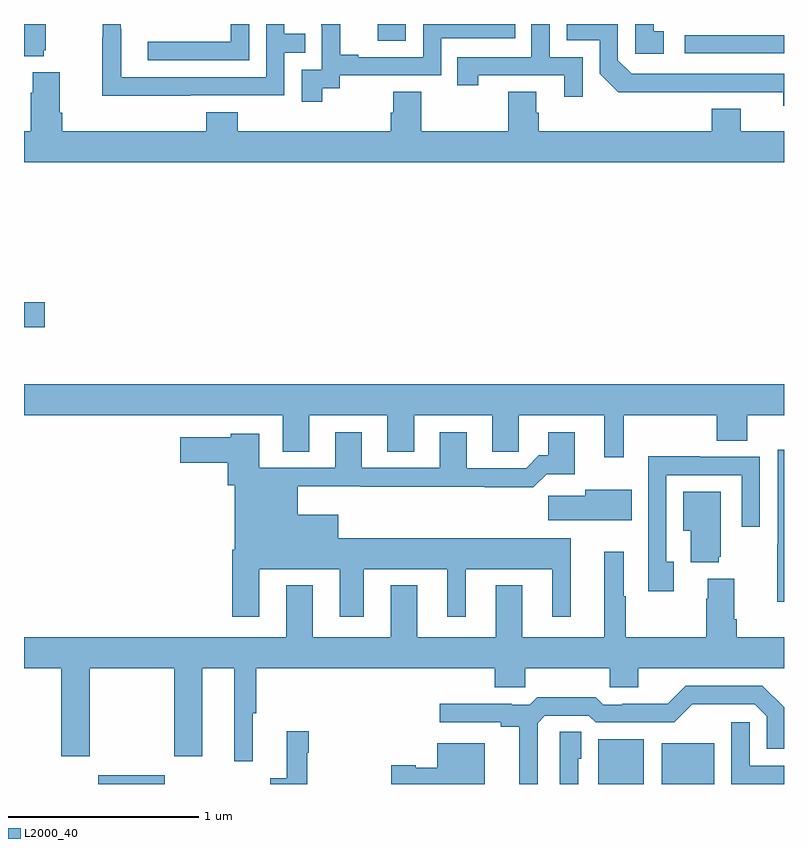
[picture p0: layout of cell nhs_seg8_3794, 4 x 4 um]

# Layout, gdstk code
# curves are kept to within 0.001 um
import gdstk
lib = gdstk.Library(unit=1e-6, precision=1e-09)
def R(c, l, rs):  # rectangles x0, y0, x1, y1
    for r in rs: c.add(gdstk.rectangle(r[:2], r[2:], *l))
def P(c, l, *ps):  # polygons
    for p in ps: c.add(gdstk.Polygon(p, *l))
L2000_40 = (2000, 40)

nhs_seg8_3794 = lib.new_cell('nhs_seg8_3794')
R(nhs_seg8_3794, L2000_40, [(345.392,1107.9,345.742,1107.946), (348.023,1107.9,348.262,1108.135), (348.356,1107.9,348.634,1108.114), (345,1110.305,345.109,1110.435), (348.477,1111.746,349,1111.842), (346.863,1111.812,347.01,1111.9), (345.608,1111.898,346.004,1111.9)])
P(nhs_seg8_3794, L2000_40, [(346.185,1111.9),(346.089,1111.9),(346.089,1111.806),(345.651,1111.806),(345.651,1111.71),(346.185,1111.71)],
  [(346.57,1111.561),(346.662,1111.561),(346.662,1111.629),(347.196,1111.629),(347.196,1111.824),(347.585,1111.824),(347.585,1111.9),(347.1,1111.9),(347.1,1111.725),(346.759,1111.725),(346.759,1111.738),(346.664,1111.738),(346.664,1111.9),(346.565,1111.9),(346.565,1111.889),(346.566,1111.889),(346.566,1111.659),(346.461,1111.659),(346.461,1111.491),(346.57,1111.491)],
  [(348.367,1111.863),(348.314,1111.863),(348.314,1111.9),(348.216,1111.9),(348.216,1111.743),(348.367,1111.743)],
  [(345.875,1111.524),(346.371,1111.524),(346.371,1111.749),(346.481,1111.749),(346.481,1111.85),(346.371,1111.85),(346.371,1111.9),(346.275,1111.9),(346.275,1111.62),(345.511,1111.62),(345.511,1111.874),(345.51,1111.874),(345.51,1111.9),(345.414,1111.9),(345.414,1111.829),(345.412,1111.829),(345.412,1111.523),(345.875,1111.523)],
  [(345.104,1111.761),(345.115,1111.761),(345.115,1111.9),(345,1111.9),(345,1111.73),(345.104,1111.73)],
  [(347.94,1111.725),(347.766,1111.725),(347.766,1111.9),(347.67,1111.9),(347.67,1111.725),(347.281,1111.725),(347.281,1111.578),(347.392,1111.578),(347.392,1111.629),(347.843,1111.629),(347.843,1111.518),(347.94,1111.518)],
  [(349,1111.638),(348.198,1111.638),(348.126,1111.71),(348.126,1111.9),(347.856,1111.9),(347.856,1111.815),(348.03,1111.815),(348.03,1111.638),(348.128,1111.541),(348.996,1111.542),(348.996,1111.469),(349,1111.469)],
  [(349,1111.336),(348.772,1111.336),(348.772,1111.453),(348.62,1111.453),(348.62,1111.336),(347.708,1111.336),(347.708,1111.434),(347.695,1111.434),(347.695,1111.544),(347.548,1111.544),(347.548,1111.336),(347.091,1111.336),(347.091,1111.544),(346.943,1111.544),(346.943,1111.434),(346.931,1111.434),(346.931,1111.336),(346.124,1111.336),(346.124,1111.435),(345.959,1111.435),(345.959,1111.336),(345.2,1111.336),(345.2,1111.432),(345.187,1111.432),(345.187,1111.645),(345.047,1111.645),(345.047,1111.538),(345.035,1111.538),(345.035,1111.336),(345,1111.336),(345,1111.172),(349,1111.172)],
  [(348.157,1109.84),(348.646,1109.84),(348.646,1109.707),(348.806,1109.707),(348.806,1109.84),(349,1109.84),(349,1110.004),(345,1110.004),(345,1109.84),(346.361,1109.84),(346.361,1109.65),(346.501,1109.65),(346.501,1109.84),(346.913,1109.84),(346.913,1109.65),(347.053,1109.65),(347.053,1109.84),(347.465,1109.84),(347.465,1109.65),(347.604,1109.65),(347.604,1109.84),(348.053,1109.84),(348.053,1109.619),(348.157,1109.619)],
  [(346.237,1109.03),(346.661,1109.03),(346.661,1108.779),(346.789,1108.779),(346.789,1109.03),(347.228,1109.03),(347.228,1108.779),(347.326,1108.779),(347.326,1109.03),(347.78,1109.03),(347.78,1108.779),(347.878,1108.779),(347.878,1109.194),(346.654,1109.194),(346.654,1109.317),(346.441,1109.317),(346.441,1109.468),(346.773,1109.468),(346.773,1109.464),(347.425,1109.464),(347.425,1109.462),(347.681,1109.462),(347.75,1109.531),(347.899,1109.531),(347.899,1109.752),(347.759,1109.752),(347.759,1109.629),(347.71,1109.629),(347.643,1109.562),(347.329,1109.562),(347.329,1109.752),(347.189,1109.752),(347.189,1109.565),(346.777,1109.565),(346.777,1109.752),(346.637,1109.752),(346.637,1109.565),(346.237,1109.565),(346.237,1109.743),(346.089,1109.743),(346.089,1109.725),(345.822,1109.725),(345.822,1109.591),(346.073,1109.591),(346.073,1109.472),(346.109,1109.472),(346.109,1109.134),(346.097,1109.134),(346.097,1108.779),(346.237,1108.779)],
  [(349,1109.659),(348.966,1109.659),(348.966,1109.165),(348.964,1109.165),(348.964,1108.859),(349,1108.859)],
  [(348.421,1109.07),(348.381,1109.07),(348.381,1109.526),(348.777,1109.526),(348.777,1109.253),(348.873,1109.253),(348.873,1109.622),(348.557,1109.622),(348.557,1109.624),(348.285,1109.624),(348.285,1108.914),(348.421,1108.914)],
  [(348.199,1109.449),(347.954,1109.449),(347.954,1109.417),(347.76,1109.417),(347.76,1109.288),(348.199,1109.288)],
  [(348.656,1109.097),(348.667,1109.097),(348.667,1109.437),(348.47,1109.437),(348.47,1109.234),(348.509,1109.234),(348.509,1109.066),(348.656,1109.066)],
  [(346.205,1108.272),(346.223,1108.272),(346.223,1108.508),(347.477,1108.508),(347.477,1108.41),(347.637,1108.41),(347.637,1108.508),(348.082,1108.508),(348.082,1108.41),(348.232,1108.41),(348.232,1108.508),(349,1108.508),(349,1108.672),(348.752,1108.672),(348.752,1108.768),(348.739,1108.768),(348.739,1108.981),(348.599,1108.981),(348.599,1108.874),(348.592,1108.874),(348.592,1108.672),(348.167,1108.672),(348.167,1108.889),(348.157,1108.889),(348.157,1109.122),(348.053,1109.122),(348.053,1108.672),(347.623,1108.672),(347.623,1108.945),(347.483,1108.945),(347.483,1108.672),(347.071,1108.672),(347.071,1108.945),(346.931,1108.945),(346.931,1108.672),(346.519,1108.672),(346.519,1108.945),(346.379,1108.945),(346.379,1108.672),(345,1108.672),(345,1108.508),(345.197,1108.508),(345.197,1108.047),(345.345,1108.047),(345.345,1108.508),(345.79,1108.508),(345.79,1108.047),(345.937,1108.047),(345.937,1108.508),(346.106,1108.508),(346.106,1108.02),(346.205,1108.02)],
  [(347.703,1108.221),(347.742,1108.26),(347.973,1108.26),(348.009,1108.224),(348.423,1108.224),(348.518,1108.319),(348.846,1108.32),(348.909,1108.257),(348.909,1108.086),(349,1108.086),(349,1108.303),(348.886,1108.416),(348.483,1108.416),(348.389,1108.322),(348.148,1108.322),(348.148,1108.317),(348.048,1108.317),(348.009,1108.357),(347.701,1108.357),(347.661,1108.317),(347.567,1108.317),(347.567,1108.322),(347.187,1108.322),(347.187,1108.224),(347.51,1108.224),(347.51,1108.202),(347.606,1108.202),(347.606,1107.9),(347.703,1107.9)],
  [(349,1107.996),(348.819,1107.996),(348.819,1108.225),(348.723,1108.225),(348.723,1107.9),(349,1107.9)],
  [(346.492,1108.064),(346.499,1108.064),(346.499,1108.177),(346.382,1108.177),(346.382,1107.929),(346.296,1107.929),(346.296,1107.9),(346.492,1107.9)],
  [(347.916,1108.032),(347.932,1108.032),(347.932,1108.175),(347.82,1108.175),(347.82,1107.9),(347.916,1107.9)],
  [(347.425,1108.114),(347.174,1108.114),(347.174,1107.985),(347.061,1107.985),(347.061,1107.998),(346.932,1107.998),(346.932,1107.9),(347.425,1107.9)])

lib.write_gds('nhs_seg8_3794.gds')
